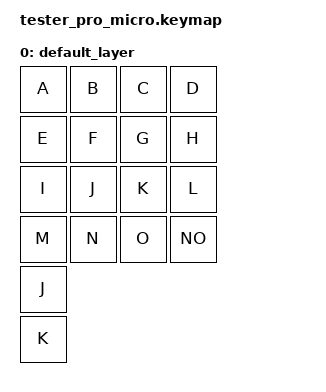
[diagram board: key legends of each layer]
/ {
    keymap {
        compatible = "zmk,keymap";

        default_layer {
            bindings = <
                &kp A  &kp B  &kp C  &kp D
                &kp E  &kp F  &kp G  &kp H
                &kp I  &kp J  &kp K  &kp L
                &kp M  &kp N  &kp O  &kp NO

                /* Encoder (links) */
                &kp J       /* encoder left turn  */
                &kp K       /* encoder right turn */
            >;
        };
    };
};
